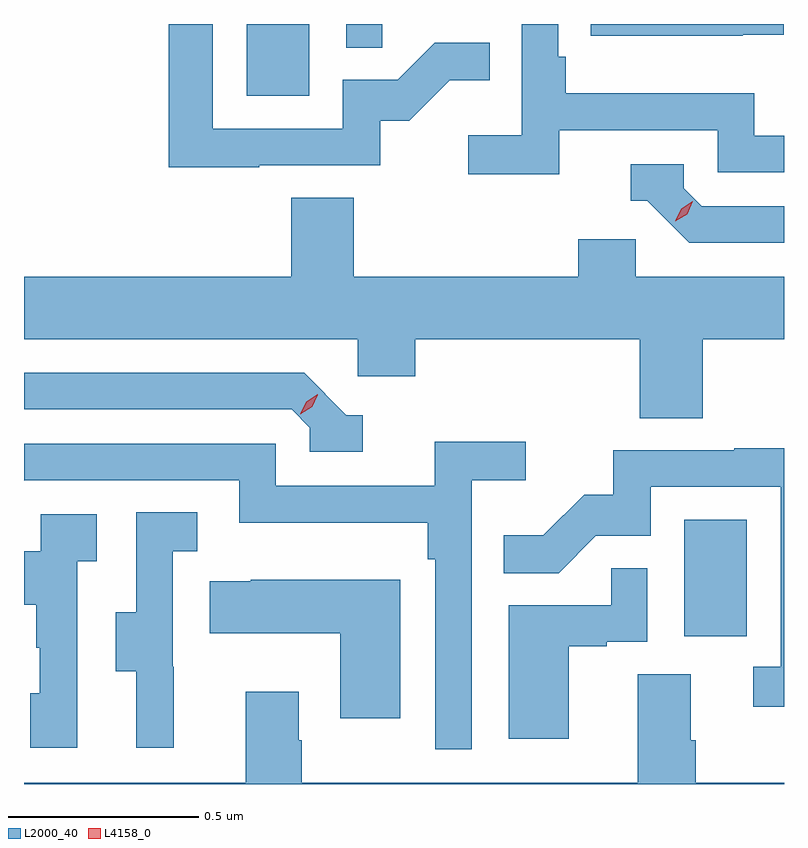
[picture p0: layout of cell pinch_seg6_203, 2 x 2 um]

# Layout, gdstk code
import gdstk
lib = gdstk.Library(unit=1e-6, precision=1e-09)
def R(c, l, rs):  # rectangles x0, y0, x1, y1
    for r in rs: c.add(gdstk.rectangle(r[:2], r[2:], *l))
def P(c, l, *ps):  # polygons
    for p in ps: c.add(gdstk.Polygon(p, *l))
L2000_40 = (2000, 40)
L4158_0 = (4158, 0)

pinch_seg6_203 = lib.new_cell('pinch_seg6_203')
R(pinch_seg6_203, L2000_40, [(1079.114,923.91,1079.278,924.217), (1077.962,925.332,1078.126,925.521), (1078.224,925.459,1078.319,925.521)])
P(pinch_seg6_203, L2000_40, [(1079.267,925.493),(1079.375,925.493),(1079.375,925.521),(1078.867,925.521),(1078.867,925.49),(1079.267,925.49)],
  [(1078.784,925.242),(1079.202,925.242),(1079.202,925.131),(1079.376,925.131),(1079.376,925.227),(1079.298,925.227),(1079.298,925.339),(1078.802,925.339),(1078.802,925.435),(1078.782,925.435),(1078.782,925.521),(1078.686,925.521),(1078.686,925.228),(1078.545,925.228),(1078.545,925.126),(1078.784,925.126)],
  [(1077.995,925.149),(1078.314,925.149),(1078.314,925.266),(1078.39,925.266),(1078.497,925.373),(1078.601,925.373),(1078.601,925.472),(1078.457,925.472),(1078.359,925.374),(1078.215,925.374),(1078.215,925.245),(1077.873,925.245),(1077.873,925.521),(1077.757,925.521),(1077.757,925.144),(1077.995,925.144)],
  [(1079.376,925.041),(1079.16,925.041),(1079.112,925.089),(1079.112,925.152),(1078.973,925.152),(1078.973,925.056),(1079.016,925.056),(1079.127,924.945),(1079.376,924.945)],
  [(1079.162,924.692),(1079.376,924.692),(1079.376,924.856),(1078.986,924.856),(1078.986,924.954),(1078.835,924.954),(1078.835,924.856),(1078.244,924.856),(1078.244,925.064),(1078.079,925.064),(1078.079,924.856),(1077.376,924.856),(1077.376,924.692),(1078.254,924.692),(1078.254,924.594),(1078.406,924.594),(1078.406,924.692),(1078.997,924.692),(1078.997,924.484),(1079.162,924.484)],
  [(1078.267,924.492),(1078.224,924.492),(1078.113,924.603),(1077.376,924.603),(1077.376,924.507),(1078.08,924.507),(1078.128,924.459),(1078.128,924.396),(1078.267,924.396)],
  [(1078.554,924.32),(1078.696,924.32),(1078.696,924.422),(1078.457,924.422),(1078.457,924.306),(1078.038,924.306),(1078.038,924.417),(1077.376,924.417),(1077.376,924.319),(1077.378,924.321),(1077.942,924.321),(1077.942,924.209),(1078.438,924.209),(1078.438,924.113),(1078.458,924.113),(1078.458,923.613),(1078.554,923.613)],
  [(1079.376,924.404),(1079.245,924.404),(1079.245,924.399),(1078.927,924.399),(1078.927,924.282),(1078.85,924.282),(1078.743,924.175),(1078.639,924.175),(1078.639,924.076),(1078.783,924.076),(1078.881,924.174),(1079.025,924.174),(1079.025,924.303),(1079.367,924.303),(1079.367,923.829),(1079.295,923.829),(1079.295,923.724),(1079.376,923.724)],
  [(1077.77,923.829),(1077.768,923.829),(1077.768,924.133),(1077.832,924.133),(1077.832,924.236),(1077.672,924.236),(1077.672,923.973),(1077.617,923.973),(1077.617,923.818),(1077.671,923.818),(1077.671,923.616),(1077.77,923.616)],
  [(1077.516,924.107),(1077.568,924.107),(1077.568,924.231),(1077.42,924.231),(1077.42,924.133),(1077.376,924.133),(1077.376,923.993),(1077.408,923.993),(1077.408,923.879),(1077.418,923.879),(1077.418,923.76),(1077.392,923.76),(1077.392,923.616),(1077.516,923.616)],
  [(1078.81,923.883),(1078.91,923.883),(1078.91,923.895),(1079.016,923.895),(1079.016,924.089),(1078.921,924.089),(1078.921,923.991),(1078.652,923.991),(1078.652,923.64),(1078.81,923.64)],
  [(1078.366,924.058),(1077.973,924.058),(1077.973,924.055),(1077.865,924.055),(1077.865,923.918),(1078.208,923.918),(1078.208,923.694),(1078.366,923.694)],
  [(1079.376,923.524),(1079.144,923.524),(1079.144,923.636),(1079.131,923.636),(1079.131,923.81),(1078.991,923.81),(1078.991,923.524),(1078.107,923.524),(1078.107,923.636),(1078.099,923.636),(1078.099,923.764),(1077.959,923.764),(1077.959,923.524),(1077.376,923.524),(1077.376,923.521),(1079.376,923.521)])
P(pinch_seg6_203, L4158_0, [(1078.103,924.494),(1078.103,924.495),(1078.119,924.527),(1078.149,924.547),(1078.149,924.547),(1078.149,924.546),(1078.134,924.514),(1078.103,924.494)],
  [(1079.09,925.002),(1079.09,925.002),(1079.106,925.035),(1079.136,925.054),(1079.136,925.054),(1079.136,925.054),(1079.121,925.021),(1079.09,925.002)])

lib.write_gds('pinch_seg6_203.gds')
